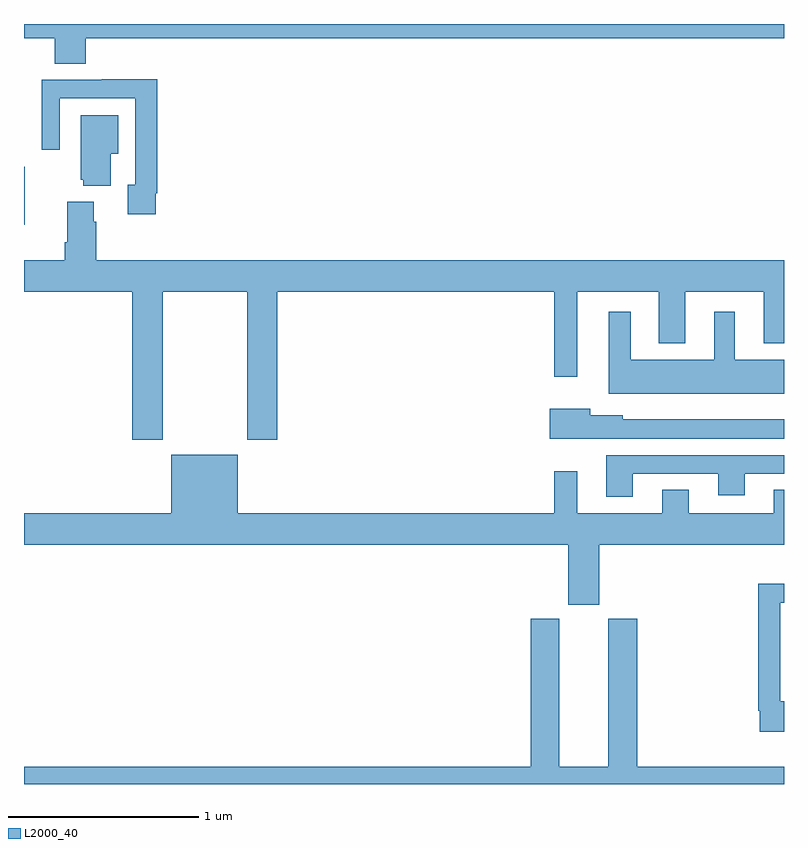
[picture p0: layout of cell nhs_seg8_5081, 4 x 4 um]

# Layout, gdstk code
import gdstk
lib = gdstk.Library(unit=1e-6, precision=1e-09)
def R(c, l, rs):  # rectangles x0, y0, x1, y1
    for r in rs: c.add(gdstk.rectangle(r[:2], r[2:], *l))
def P(c, l, *ps):  # polygons
    for p in ps: c.add(gdstk.Polygon(p, *l))
L2000_40 = (2000, 40)

nhs_seg8_5081 = lib.new_cell('nhs_seg8_5081')
R(nhs_seg8_5081, L2000_40, [(417,1124.843,417.003,1125.149)])
P(nhs_seg8_5081, L2000_40, [(417.326,1125.824),(421,1125.824),(421,1125.9),(417,1125.9),(417,1125.824),(417.161,1125.824),(417.161,1125.691),(417.326,1125.691)],
  [(417.694,1125.01),(417.701,1125.01),(417.701,1125.608),(417.409,1125.608),(417.409,1125.606),(417.093,1125.606),(417.093,1125.237),(417.189,1125.237),(417.189,1125.51),(417.585,1125.51),(417.585,1125.054),(417.545,1125.054),(417.545,1124.898),(417.694,1124.898)],
  [(417.457,1125.218),(417.496,1125.218),(417.496,1125.421),(417.299,1125.421),(417.299,1125.081),(417.311,1125.081),(417.311,1125.05),(417.457,1125.05)],
  [(417.729,1124.492),(418.174,1124.492),(418.174,1123.713),(418.334,1123.713),(418.334,1124.492),(419.79,1124.492),(419.79,1124.043),(419.911,1124.043),(419.911,1124.492),(420.341,1124.492),(420.341,1124.219),(420.481,1124.219),(420.481,1124.492),(420.893,1124.492),(420.893,1124.219),(421,1124.219),(421,1124.656),(417.38,1124.656),(417.38,1124.858),(417.367,1124.858),(417.367,1124.965),(417.227,1124.965),(417.227,1124.752),(417.215,1124.752),(417.215,1124.656),(417,1124.656),(417,1124.492),(417.569,1124.492),(417.569,1123.713),(417.729,1123.713)],
  [(421,1124.134),(420.742,1124.134),(420.742,1124.386),(420.632,1124.386),(420.632,1124.134),(420.193,1124.134),(420.193,1124.386),(420.077,1124.386),(420.077,1123.955),(421,1123.955)],
  [(421,1123.819),(420.15,1123.819),(420.15,1123.84),(419.98,1123.84),(419.98,1123.876),(419.766,1123.876),(419.766,1123.718),(421,1123.718)],
  [(420.028,1123.16),(421,1123.16),(421,1123.448),(420.947,1123.448),(420.947,1123.324),(420.499,1123.324),(420.499,1123.448),(420.359,1123.448),(420.359,1123.324),(419.911,1123.324),(419.911,1123.546),(419.79,1123.546),(419.79,1123.324),(418.126,1123.324),(418.126,1123.633),(417.776,1123.633),(417.776,1123.324),(417,1123.324),(417,1123.16),(419.864,1123.16),(419.864,1122.843),(420.028,1122.843)],
  [(420.205,1123.533),(420.653,1123.533),(420.653,1123.421),(420.793,1123.421),(420.793,1123.533),(421,1123.533),(421,1123.629),(420.065,1123.629),(420.065,1123.413),(420.205,1123.413)],
  [(421,1122.335),(420.981,1122.335),(420.981,1122.855),(421,1122.855),(421,1122.955),(420.865,1122.955),(420.865,1122.286),(420.873,1122.286),(420.873,1122.174),(421,1122.174)],
  [(421,1121.992),(420.227,1121.992),(420.227,1122.771),(420.074,1122.771),(420.074,1121.992),(419.818,1121.992),(419.818,1122.771),(419.666,1122.771),(419.666,1121.992),(417,1121.992),(417,1121.9),(421,1121.9)])

lib.write_gds('nhs_seg8_5081.gds')
